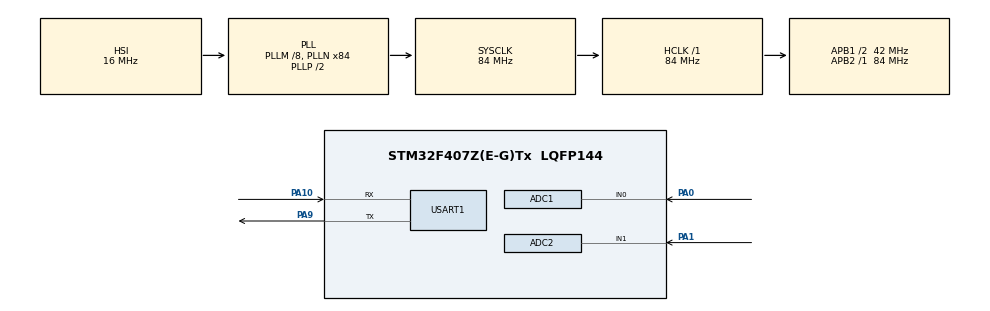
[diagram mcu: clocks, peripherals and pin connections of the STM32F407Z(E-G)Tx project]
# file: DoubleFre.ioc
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ADC1.Channel-0\#ChannelRegularConversion=ADC_CHANNEL_0
ADC1.ExternalTrigConv=ADC_EXTERNALTRIGCONV_T3_TRGO
ADC1.NbrOfConversionFlag=1
ADC1.Rank-0\#ChannelRegularConversion=1
ADC1.SamplingTime-0\#ChannelRegularConversion=ADC_SAMPLETIME_3CYCLES
ADC1.master=1
ADC2.Channel-1\#ChannelRegularConversion=ADC_CHANNEL_1
ADC2.ExternalTrigConv=ADC_EXTERNALTRIGCONV_T3_TRGO
ADC2.NbrOfConversionFlag=1
ADC2.Rank-1\#ChannelRegularConversion=1
ADC2.SamplingTime-1\#ChannelRegularConversion=ADC_SAMPLETIME_3CYCLES
Dma.ADC1.0.Direction=DMA_PERIPH_TO_MEMORY
Dma.ADC1.0.FIFOMode=DMA_FIFOMODE_DISABLE
Dma.ADC1.0.Instance=DMA2_Stream0
Dma.ADC1.0.MemDataAlignment=DMA_MDATAALIGN_HALFWORD
Dma.ADC1.0.MemInc=DMA_MINC_ENABLE
Dma.ADC1.0.Mode=DMA_NORMAL
Dma.ADC1.0.PeriphDataAlignment=DMA_PDATAALIGN_HALFWORD
Dma.ADC1.0.PeriphInc=DMA_PINC_DISABLE
Dma.ADC1.0.Priority=DMA_PRIORITY_LOW
Dma.ADC2.1.Direction=DMA_PERIPH_TO_MEMORY
Dma.ADC2.1.FIFOMode=DMA_FIFOMODE_DISABLE
Dma.ADC2.1.Instance=DMA2_Stream2
Dma.ADC2.1.MemDataAlignment=DMA_MDATAALIGN_HALFWORD
Dma.ADC2.1.MemInc=DMA_MINC_ENABLE
Dma.ADC2.1.Mode=DMA_NORMAL
Dma.ADC2.1.PeriphDataAlignment=DMA_PDATAALIGN_HALFWORD
Dma.ADC2.1.PeriphInc=DMA_PINC_DISABLE
Dma.ADC2.1.Priority=DMA_PRIORITY_LOW
Dma.Request0=ADC1
Dma.Request1=ADC2
Mcu.Family=STM32F4
Mcu.Name=STM32F407Z(E-G)Tx
Mcu.Package=LQFP144
NVIC.DMA2_Stream0_IRQn=true\:0\:0\:false\:false\:true\:false\:true\:true
NVIC.DMA2_Stream2_IRQn=true\:0\:0\:false\:false\:true\:false\:true\:true
NVIC.PriorityGroup=NVIC_PRIORITYGROUP_4
PA0-WKUP.Signal=ADCx_IN0
PA1.Signal=ADCx_IN1
PA10.Mode=Asynchronous
PA10.Signal=USART1_RX
PA13.Mode=Serial_Wire
PA13.Signal=SYS_JTMS-SWDIO
PA14.Mode=Serial_Wire
PA14.Signal=SYS_JTCK-SWCLK
PA9.Mode=Asynchronous
PA9.Signal=USART1_TX
PH0-OSC_IN.Mode=HSE-External-Oscillator
PH0-OSC_IN.Signal=RCC_OSC_IN
PH1-OSC_OUT.Mode=HSE-External-Oscillator
PH1-OSC_OUT.Signal=RCC_OSC_OUT
ProjectManager.HeapSize=0x200
ProjectManager.StackSize=0x400
ProjectManager.TargetToolchain=MDK-ARM V5.32
RCC.48MHZClocksFreq_Value=42000000
RCC.AHBFreq_Value=84000000
RCC.APB1CLKDivider=RCC_HCLK_DIV2
RCC.APB1Freq_Value=42000000
RCC.APB1TimFreq_Value=84000000
RCC.APB2Freq_Value=84000000
RCC.APB2TimFreq_Value=84000000
RCC.CortexFreq_Value=84000000
RCC.HCLKFreq_Value=84000000
RCC.HSE_VALUE=25000000
RCC.HSI_VALUE=16000000
RCC.LSE_VALUE=32768
RCC.PLLM=8
RCC.PLLN=84
RCC.SYSCLKFreq_VALUE=84000000
RCC.SYSCLKSource=RCC_SYSCLKSOURCE_PLLCLK
RCC.VCOOutputFreq_Value=168000000
SH.ADCx_IN0.0=ADC1_IN0,IN0
SH.ADCx_IN1.0=ADC2_IN1,IN1
TIM3.AutoReloadPreload=TIM_AUTORELOAD_PRELOAD_ENABLE
TIM3.Period=82-1
TIM3.TIM_MasterOutputTrigger=TIM_TRGO_UPDATE
USART1.VirtualMode=VM_ASYNC
VP_TIM3_VS_ClockSourceINT.Mode=Internal
board=custom

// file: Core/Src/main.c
/* USER CODE BEGIN Header */
/**
  ******************************************************************************
  * @file           : main.c
  * @brief          : Main program body
  ******************************************************************************
  * @attention
  *
  * Copyright (c) 2025 STMicroelectronics.
  * All rights reserved.
  *
  * This software is licensed under terms that can be found in the LICENSE file
  * in the root directory of this software component.
  * If no LICENSE file comes with this software, it is provided AS-IS.
  *
  ******************************************************************************
  */
/* USER CODE END Header */
#include "main.h"
#include "adc.h"
#include "dma.h"
#include "tim.h"
#include "usart.h"
#include "gpio.h"

/* USER CODE BEGIN Includes */
#include "arm_math.h"
#include "arm_const_structs.h"
#include "stdio.h"
/* USER CODE END Includes */

/* USER CODE BEGIN PD */
#define FFT_LENGTH 1024
/* USER CODE END PD */

/* USER CODE BEGIN PV */

/*
AdcConvEnd用来检测ADC是否采集完毕
0：没有采集完毕
1：采集完毕，在stm32f1xx_it里的DMA完成中断进行修改
 */
__IO uint8_t AdcConvEnd1 = 0;
__IO uint8_t AdcConvEnd2 = 0;
uint16_t adcBuff1[FFT_LENGTH];
uint16_t adcBuff2[FFT_LENGTH];
float fft_inputbuf[FFT_LENGTH*2];
float fft_outputbuf[FFT_LENGTH];

/* USER CODE END PV */

void SystemClock_Config(void);
/* USER CODE BEGIN PFP */
float Calculate_Frequency(uint16_t *adc_data, uint32_t fft_size, float sampling_freq);
/* USER CODE END PFP */

int main(void)
{

  /* USER CODE BEGIN 1 */
  float sampling_freq = 1024280.f; // 修改为1MHz
  /* USER CODE END 1 */

  /* MCU Configuration--------------------------------------------------------*/

  /* Reset of all peripherals, Initializes the Flash interface and the Systick. */
  HAL_Init();

  /* Configure the system clock */
  SystemClock_Config();

  /* Initialize all configured peripherals */
  MX_GPIO_Init();
  MX_DMA_Init();
  MX_ADC1_Init();
  MX_TIM3_Init();
  MX_USART1_UART_Init();
  MX_ADC2_Init();
  /* USER CODE BEGIN 2 */
HAL_ADC_Start_DMA(&hadc1, (uint32_t *)adcBuff1, FFT_LENGTH);
HAL_ADC_Start_DMA(&hadc2, (uint32_t *)adcBuff2, FFT_LENGTH);
HAL_TIM_Base_Start(&htim3);

while (!AdcConvEnd1 && AdcConvEnd2)       //等待转换完毕
	;
///////////////////////////////////////////////////////////
for (int i = 0; i < FFT_LENGTH; i++)
{
    fft_inputbuf[i * 2] = adcBuff1[i] * 3.3 / 4096;//实部赋值，* 3.3 / 4096是为了将ADC采集到的值转换成实际电压
    fft_inputbuf[i * 2 + 1] = 0;//虚部赋值，固定为0.
}
for (int i = 0; i < FFT_LENGTH; i++)
{
    fft_inputbuf[i * 2] = adcBuff2[i] * 3.3 / 4096;//实部赋值，* 3.3 / 4096是为了将ADC采集到的值转换成实际电压
    fft_inputbuf[i * 2 + 1] = 0;//虚部赋值，固定为0.
}
////////////////////////////////////////////////////////////
arm_cfft_f32(&arm_cfft_sR_f32_len1024, fft_inputbuf, 0, 1);
arm_cmplx_mag_f32(fft_inputbuf, fft_outputbuf, FFT_LENGTH);
fft_outputbuf[0] /= 1024;

for (int i = 1; i < FFT_LENGTH; i++)//输出各次谐波幅值
{
    fft_outputbuf[i] /= 512;
}
           float freq1 = Calculate_Frequency(adcBuff1, FFT_LENGTH, sampling_freq);
					float freq2 = Calculate_Frequency(adcBuff2, FFT_LENGTH, sampling_freq);
            printf("Measured Frequency1	: %.2f kHz\r\n", freq1/1000);
						printf("Measured Frequency2	: %.2f kHz\r\n", freq2/1000);
            AdcConvEnd1 = 0;AdcConvEnd2 = 0;
            HAL_ADC_Start_DMA(&hadc1, (uint32_t *)adcBuff1, FFT_LENGTH);
						HAL_ADC_Start_DMA(&hadc2, (uint32_t *)adcBuff2, FFT_LENGTH);

  /* USER CODE END 2 */

  /* Infinite loop */
  while (1)
  {
        }

}

void SystemClock_Config(void)
{
  RCC_OscInitTypeDef RCC_OscInitStruct = {0};
  RCC_ClkInitTypeDef RCC_ClkInitStruct = {0};

  /** Configure the main internal regulator output voltage
  */
  __HAL_RCC_PWR_CLK_ENABLE();
  __HAL_PWR_VOLTAGESCALING_CONFIG(PWR_REGULATOR_VOLTAGE_SCALE1);

  /** Initializes the RCC Oscillators according to the specified parameters
  * in the RCC_OscInitTypeDef structure.
  */
  RCC_OscInitStruct.OscillatorType = RCC_OSCILLATORTYPE_HSI;
  RCC_OscInitStruct.HSIState = RCC_HSI_ON;
  RCC_OscInitStruct.HSICalibrationValue = RCC_HSICALIBRATION_DEFAULT;
  RCC_OscInitStruct.PLL.PLLState = RCC_PLL_ON;
  RCC_OscInitStruct.PLL.PLLSource = RCC_PLLSOURCE_HSI;
  RCC_OscInitStruct.PLL.PLLM = 8;
  RCC_OscInitStruct.PLL.PLLN = 84;
  RCC_OscInitStruct.PLL.PLLP = RCC_PLLP_DIV2;
  RCC_OscInitStruct.PLL.PLLQ = 4;
  if (HAL_RCC_OscConfig(&RCC_OscInitStruct) != HAL_OK)
  {
    Error_Handler();
  }

  /** Initializes the CPU, AHB and APB buses clocks
  */
  RCC_ClkInitStruct.ClockType = RCC_CLOCKTYPE_HCLK|RCC_CLOCKTYPE_SYSCLK
                              |RCC_CLOCKTYPE_PCLK1|RCC_CLOCKTYPE_PCLK2;
  RCC_ClkInitStruct.SYSCLKSource = RCC_SYSCLKSOURCE_PLLCLK;
  RCC_ClkInitStruct.AHBCLKDivider = RCC_SYSCLK_DIV1;
  RCC_ClkInitStruct.APB1CLKDivider = RCC_HCLK_DIV2;
  RCC_ClkInitStruct.APB2CLKDivider = RCC_HCLK_DIV1;

  if (HAL_RCC_ClockConfig(&RCC_ClkInitStruct, FLASH_LATENCY_2) != HAL_OK)
  {
    Error_Handler();
  }
}

/* USER CODE BEGIN 4 */
float Calculate_Frequency(uint16_t *adc_data, uint32_t fft_size, float sampling_freq) {
    static float fft_inputbuf[FFT_LENGTH * 2];
    static float fft_outputbuf[FFT_LENGTH];

    // 1. 准备FFT输入数据
    for (uint32_t i = 0; i < fft_size; i++) {
        fft_inputbuf[i * 2] = (float)adc_data[i] * 3.3f / 4096.0f;
        fft_inputbuf[i * 2 + 1] = 0.0f;
    }

    // 2. 执行FFT计算
    arm_cfft_f32(&arm_cfft_sR_f32_len1024, fft_inputbuf, 0, 1);

    // 3. 计算幅度谱
    arm_cmplx_mag_f32(fft_inputbuf, fft_outputbuf, fft_size);

    // 4. 寻找基波频率（最大幅值对应的频率）
    float max_magnitude = 0.0f;
    uint32_t max_idx = 0;
    for (uint32_t i = 1; i < fft_size / 2; i++) {
        if (fft_outputbuf[i] > max_magnitude) {
            max_magnitude = fft_outputbuf[i];
            max_idx = i;
        }
    }

    // 5. 使用三点插值法提高频率精度
    float y1 = fft_outputbuf[max_idx - 1];
    float y2 = fft_outputbuf[max_idx];
    float y3 = fft_outputbuf[max_idx + 1];

    // 抛物线插值公式
    float delta = 0.5f * (y3 - y1) / (2.0f * y2 - y1 - y3);
    float interpolated_idx = (float)max_idx + delta;

    // 6. 计算实际频率
    float frequency = interpolated_idx * (sampling_freq / fft_size);

    // 7. 保留小数点后两位
    return roundf(frequency * 100.0f) / 100.0f;
}
/* USER CODE END 4 */

void Error_Handler(void)
{
  __disable_irq();
  while (1)
  {
  }
}
